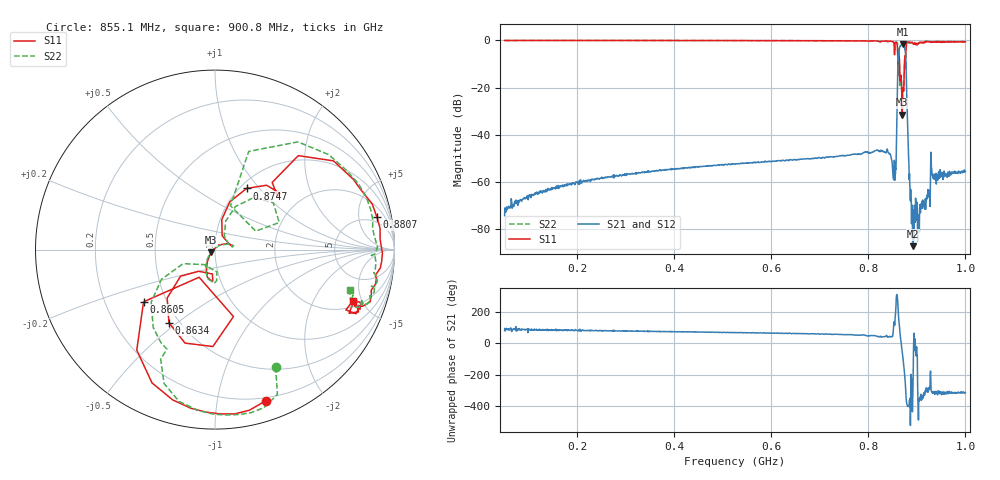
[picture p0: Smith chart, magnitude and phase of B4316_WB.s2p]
! Matrix data file written by TouchstoneData, EPCOS AG
! FILENAME: "LZ49B_3_WB.snp"
! COMMENT: "(TS/LZ49B_3_WB.s2p) EPCOS AG 06.03.2012 16:1"
! INFO: nport=2, nfreq=1601
! DATE: "Thu Apr  5 09:33:07 2012"
! USER: "Wee Chuan Tay"
! port | pin | signal
!  1  |  1  |  Input
!  2  |  2  |  Output
# MHZ S RI R 50
! freq  reS11 imS11  reS21 imS21  reS12 imS12  reS22 imS22
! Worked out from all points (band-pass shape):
!   1601 points, 50 MHz to 1 GHz, reference 50 ohm
!   highest |S21| = -1.71 dB at 870.6 MHz (marker M1); lowest = -87.2 dB at 891.3 MHz (marker M2)
!   |S21| within 3 dB of the highest: 863.2 MHz to 876.1 MHz (12.87 MHz wide, 1.48 % of centre)
!   lowest |S11| = -31.4 dB at 869.4 MHz (marker M3), VSWR 1.06, Z = 47.8 - j1.39 ohm
!   |S11| at or under -10 dB: 860.727 MHz to 861.5017 MHz (774.7 kHz wide, 0.09 % of centre); 864.3 MHz to 874.4 MHz (10.09 MHz wide, 1.16 % of centre)
!   |S22| runs from -33.1 to 0.0 dB; largest |S21 - S12| = 0
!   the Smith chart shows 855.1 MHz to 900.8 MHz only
!   S11 on the Smith chart (normalised r, x): 855.1 MHz: 0.17, -1.38; 860.5 MHz: 0.37, -0.29; 863.4 MHz: 0.44, -0.47; 874.7 MHz: 1.07, +0.86; 880.7 MHz: 3.65, +8.60; 900.8 MHz: 2.43, -4.22
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50  0.998 -0.0399  3.36e-05 0.000191  3.36e-05 0.000191  0.9967 -0.0386
104.625  0.9962 -0.0866  4.62e-05 0.000464  4.62e-05 0.000464  0.9955 -0.0777
208.531  0.9848 -0.1713  0.000149 0.00096  0.000149 0.00096  0.987 -0.1524
367.062  0.9501 -0.3017  0.000445 0.00167  0.000445 0.00167  0.9594 -0.2688
525  0.8978 -0.4288  0.000895 0.00219  0.000895 0.00219  0.9146 -0.3874
683.531  0.8146 -0.5579  0.00158 0.00273  0.00158 0.00273  0.8469 -0.5088
807.031  0.67 -0.712  0.00283 0.00317  0.00283 0.00317  0.7198 -0.6629
842.062  0.4653 -0.842  0.00314 0.00265  0.00314 0.00265  0.5221 -0.8059
852.156  0.1074 -0.8978  -0.000429 0.00104  -0.000429 0.00104  0.2497 -0.8767
855.125  0.2821 -0.8427  -0.00164 0.000564  -0.00164 0.000564  0.3377 -0.6535
860.469  -0.3981 -0.291  -0.0147 -0.1997  -0.0147 -0.1997  -0.2838 -0.746
863.438  -0.2569 -0.4064  -0.3365 0.5049  -0.3365 0.5049  -0.3554 -0.2928
869.375  -0.0225 -0.0146  0.5605 -0.5727  0.5605 -0.5727  -0.0211 -0.00705
870.562  0.0752 0.0343  0.2038 -0.7955  0.2038 -0.7955  0.0775 0.0308
874.719  0.1763 0.3409  -0.6477 0.233  -0.6477 0.233  0.2144 0.289
880.656  0.9027 0.1798  0.0139 -0.0116  0.0139 -0.0116  0.8429 0.293
886.594  0.8942 -0.1927  -0.000386 -0.000121  -0.000386 -0.000121  0.8976 -0.072
891.344  0.8195 -0.3163  4.35e-05 -4.71e-06  4.35e-05 -4.71e-06  0.8707 -0.2041
900.844  0.768 -0.2856  6.01e-05 -0.000275  6.01e-05 -0.000275  0.7515 -0.2231
922.812  0.8047 -0.4858  0.000459 0.000512  0.000459 0.000512  0.8516 -0.426
932.906  0.7756 -0.5013  0.000905 0.00117  0.000905 0.00117  0.8185 -0.4367
1000  0.713 -0.6129  0.00117 0.00122  0.00117 0.00122  0.7739 -0.5481
